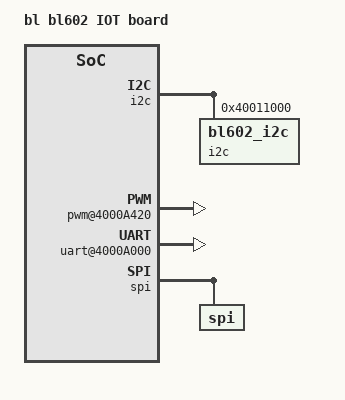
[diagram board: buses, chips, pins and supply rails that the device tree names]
/dts-v1/;
/include/ "bl602_base.dtsi";
// version: 17
// last_comp_version: 16
// boot_cpuid_phys: 0x0

/ {
    model = "bl bl602 IOT board";
    compatible = "bl,bl602-sample", "bl,bl602-common";
    #address-cells = <0x1>;
    #size-cells = <0x1>;
	huawei {
	#address-cells = <1>;
	#size-cells = <1>;

	ssid = "BouffaloLab";
	psk  = "bouffalo";
	devid ="6080bf90f4b59002c0d9c955_bl602";
	devpsw="12345678";
	};
    i2c {
        #address-cells = <1>;
        #size-cells = <1>;
        i2c@40011000 {
            status = "okay";
            compatible = "bl602_i2c";
            reg = <0x40011000 0x100>;
            pin {
                scl = <12>;
                sda = <11>;
            };
        };
    };
    timer {
        #address-cells = <1>;
        #size-cells = <1>;
        timer@40014000 {
            status = "disable";
            compatible = "bl602_timer";
            reg = <0x40014000 0x100>;
        };
        timer@40014100 {
            status = "disable";
            compatible = "bl602_timer";
            reg = <0x40014100 0x100>;
        };
    };
    pwm {
        #address-cells = <1>;
        #size-cells = <1>;
        pwm@4000A420 {
            status = "okay";
            compatible = "bl602_pwm";
            reg = <0x4000A420 0x20>;
            path = "/dev/pwm0";
            id = <0>;
            pin = <0>;
            freq = <800000>;
            duty = <50>;
        };
        pwm@4000A440 {
            status = "disable";
            reg = <0x4000A440 0x20>;
            path = "/dev/pwm1";
            id = <1>;
            pin = <1>;
            freq = <5000>;
            duty = <50>;
        };
        pwm@4000A460 {
            status = "disable";
            reg = <0x4000A460 0x20>;
            path = "/dev/pwm2";
            id = <2>;
            pin = <2>;
            freq = <5000>;
            duty = <50>;
        };
        pwm@4000A480 {
            status = "disable";
            reg = <0x4000A480 0x20>;
            path = "/dev/pwm3";
            id = <3>;
            pin = <3>;
            freq = <5000>;
            duty = <50>;
        };
        pwm@4000A4A0 {
            status = "disable";
            reg = <0x4000A4A0 0x20>;
            path = "/dev/pwm4";
            id = <4>;
            pin = <4>;
            freq = <5000>;
            duty = <50>;
        };
    }; 
    uart {
        #address-cells = <1>;
        #size-cells = <1>;
        uart@4000A000 {
            status = "okay";
            id = <0>;
            compatible = "bl602_uart";
            path = "/dev/ttyS0";
            baudrate = <2000000>;
            pin {
                rx = <7>;
                tx = <16>;
            };
            buf_size {
                rx_size = <512>;
                tx_size = <512>;
            };
            feature {
                tx = "okay";
                rx = "okay";
                cts = "disable";
                rts = "disable";
            };
        };
        uart@4000A100 {
            status = "disable";
            id = <1>;
            compatible = "bl602_uart";
            path = "/dev/ttyS1";
            baudrate = <115200>;
            pin {
                rx = <11>;
                tx = <12>;
            };
            buf_size {
                rx_size = <512>;
                tx_size = <512>;
            };
            feature {
                tx = "okay";
                rx = "okay";
                cts = "disable";
                rts = "disable";
            };
        };
    };
    spi {
        #address-cells = <1>;
        #size-cells = <1>;
        spi@4000F000 {
            status = "okay";         /* okay disable */
            mode = "master";
            reg = <0x4000F000 0x100>;   /* 4KB */
            path = "/dev/spi0";
            port = <0>;
            polar_phase = <1>;                 /* 0,1,2,3 */
            freq = <6000000>;
            pin {
                clk = <3>;
                cs = <2>;
                mosi = <1>;
                miso = <0>;
            };
            dma_cfg {
                tx_dma_ch = <2>;
                rx_dma_ch = <3>;
            };
        };
    };
    qspi {
        #address-cells = <1>;
        #size-cells = <1>;
        qspi@4000A000 {
            status = "disable";
            reg = <0x4000A000 0x1000>;/* 4KB */
        };
    };
    wifi {
        #address-cells = <1>;
        #size-cells = <1>;
        region {
            country_code = <86>;
        };
        mac {
            mode = "MBF";
            sta_mac_addr = [C8 43 57 82 73 40];
            ap_mac_addr = [C8 43 57 82 73 02];
        };
        sta {
            ssid = "yourssid";
            pwd = "yourapssword";
            auto_connect_enable = <0>;
        };
        ap {
            ssid = "bl_test_005";
            pwd = "12345678";
            ap_channel = <11>;
            auto_chan_detect = "disable";
        };
        brd_rf {
            xtal_mode = "MF";
            xtal = <36 36 0 60 60>;
            /*
            pwr_table = <   4 3 3 186
                            4 3 4 176
                            4 3 5 167
                            3 3 0 159
                            3 3 1 149
                            3 3 2 140
                            3 3 3 129
                            3 3 4 119
                            3 3 5 110
                            2 3 0 101
                            2 3 1 91
                            2 3 2 82
                            2 3 3 72
                            2 3 4 62
                            2 3 5 52
                            1 3 3 10>;
            */
            pwr_mode = "bf";//B: only use power offset in EFUSE; b: use power offset in EFUSE with incremental mode; F: only use power offset in Flash; f: use power offset in Flash with incremental mode
            pwr_table_11b = <20 20 20 18>;//1Mbps 2Mbps 5.5Mbps 11Mbps
            pwr_table_11g = <18 18 18 18 18 18 14 14>; //6Mbps 9Mbps 12Mbps 18MBps 24Mbps 36Mbps 48Mbps 54Mbps
            pwr_table_11n = <18 18 18 18 18 16 14 14>; //MCS0 MCS1 MCS2 MCS3 MCS4 MCS5 MCS6 MCS7
            pwr_offset = <10 10 10 10 10 10 10 10 10 10 10 10 10 10>;//due to the limit of current DTC, negative value is used. So we work around by adding all the poweroffset with 10. so 8 represents -2; 10 represents 0; 13 represents 3
            channel_div_table = <0x1EEC4EC4 0x1EFCB7CB 0x1F0D20D2 0x1F1D89D8 0x1F2DF2DF 0x1F3E5BE5 0x1F4EC4EC 0x1F5F2DF2 0x1F6F96F9 0x1F800000 0x1F906906 0x1FA0D20D 0x1FB13B13 0x1FD89D89 0x201F81F8>;
            channel_cnt_table = <0xA78A 0xA7E3 0xA83C 0xA895 0xA8ED 0xA946 0xA99F 0xA9F8 0xAA51 0xAAAA 0xAB03 0xAB5C 0xABB5 0xAC8A>;
            lo_fcal_div = <0x56B>;
        };
        rf_temp {
            en_tcal = <0>;
            linear_or_follow = <1>;
            Tchannels       = <2412 2427 2442 2457 2472>;
            Tchannel_os     = <180  170  160  140  120>;
            Tchannel_os_low = <200  190  180  160  130>;
            Troom_os        = <255>;
            //negative value is NOT supported. So we use '256' for 0, '255' for -1, '257' for 1,'511' for 256
        };
    };
    bluetooth {
        #address-cells = <1>;
        #size-cells = <1>;
        brd_rf {
            pwr_table_ble = <13>;  //range:-3~15dbm; if set -3, please set 253 here
        };
    };
	
};
